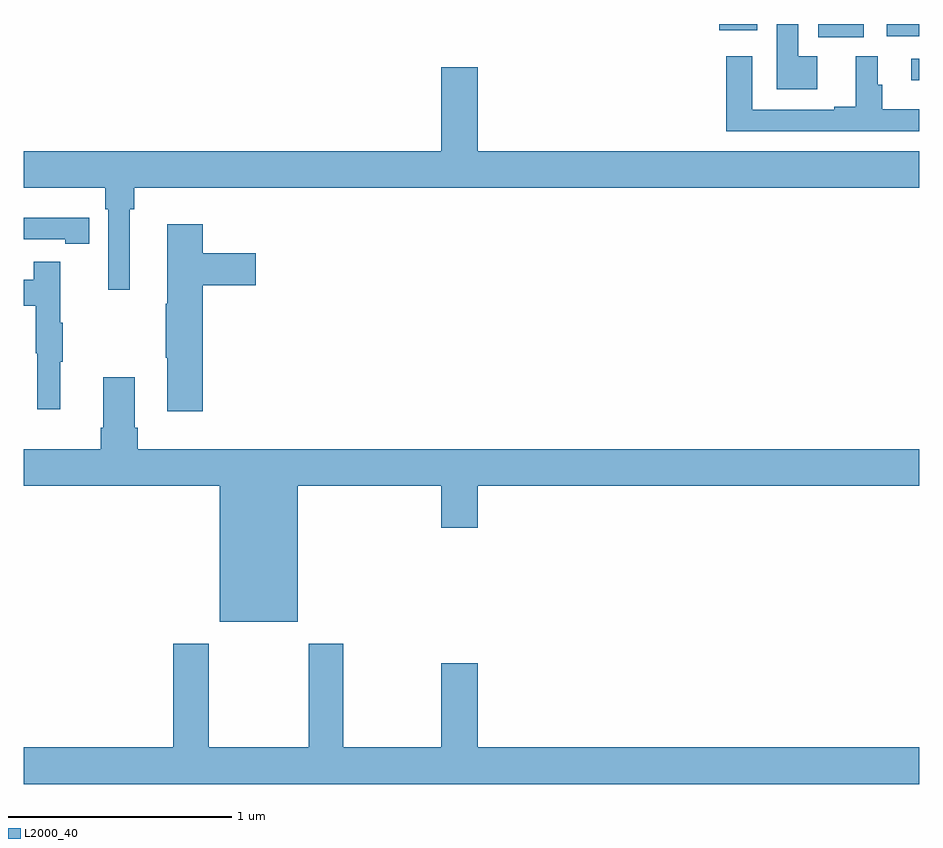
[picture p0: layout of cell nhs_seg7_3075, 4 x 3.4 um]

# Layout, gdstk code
import gdstk
lib = gdstk.Library(unit=1e-6, precision=1e-09)
def R(c, l, rs):  # rectangles x0, y0, x1, y1
    for r in rs: c.add(gdstk.rectangle(r[:2], r[2:], *l))
def P(c, l, *ps):  # polygons
    for p in ps: c.add(gdstk.Polygon(p, *l))
L2000_40 = (2000, 40)

nhs_seg7_3075 = lib.new_cell('nhs_seg7_3075')
R(nhs_seg7_3075, L2000_40, [(310.965,1015.748,311,1015.845), (310.55,1015.94,310.753,1016), (310.856,1015.946,311,1016), (310.106,1015.973,310.276,1016)])
P(nhs_seg7_3075, L2000_40, [(310.546,1015.855),(310.461,1015.855),(310.461,1016),(310.365,1016),(310.365,1015.709),(310.546,1015.709)],
  [(311,1015.618),(310.835,1015.618),(310.835,1015.728),(310.816,1015.728),(310.816,1015.855),(310.718,1015.855),(310.718,1015.63),(310.622,1015.63),(310.622,1015.617),(310.254,1015.617),(310.254,1015.855),(310.138,1015.855),(310.138,1015.521),(311,1015.521)],
  [(307.474,1015.172),(307.493,1015.172),(307.493,1015.268),(311,1015.268),(311,1015.432),(309.028,1015.432),(309.028,1015.807),(308.864,1015.807),(308.864,1015.432),(307,1015.432),(307,1015.268),(307.364,1015.268),(307.364,1015.172),(307.377,1015.172),(307.377,1014.813),(307.474,1014.813)],
  [(307.292,1015.134),(307.184,1015.134),(307.184,1015.135),(307,1015.135),(307,1015.038),(307.184,1015.038),(307.184,1015.018),(307.292,1015.018)],
  [(307.799,1014.833),(308.035,1014.833),(308.035,1014.975),(307.799,1014.975),(307.799,1015.105),(307.64,1015.105),(307.64,1014.749),(307.633,1014.749),(307.633,1014.508),(307.64,1014.508),(307.64,1014.27),(307.799,1014.27)],
  [(307.163,1014.491),(307.174,1014.491),(307.174,1014.665),(307.163,1014.665),(307.163,1014.937),(307.045,1014.937),(307.045,1014.858),(307,1014.858),(307,1014.742),(307.053,1014.742),(307.053,1014.528),(307.06,1014.528),(307.06,1014.279),(307.163,1014.279)],
  [(308.224,1013.936),(308.864,1013.936),(308.864,1013.748),(309.028,1013.748),(309.028,1013.936),(311,1013.936),(311,1014.1),(307.508,1014.1),(307.508,1014.196),(307.495,1014.196),(307.495,1014.421),(307.355,1014.421),(307.355,1014.196),(307.343,1014.196),(307.343,1014.1),(307,1014.1),(307,1013.936),(307.874,1013.936),(307.874,1013.33),(308.224,1013.33)],
  [(311,1012.768),(309.028,1012.768),(309.028,1013.143),(308.864,1013.143),(308.864,1012.768),(308.427,1012.768),(308.427,1013.23),(308.272,1013.23),(308.272,1012.768),(307.827,1012.768),(307.827,1013.23),(307.667,1013.23),(307.667,1012.768),(307,1012.768),(307,1012.604),(311,1012.604)])

lib.write_gds('nhs_seg7_3075.gds')
